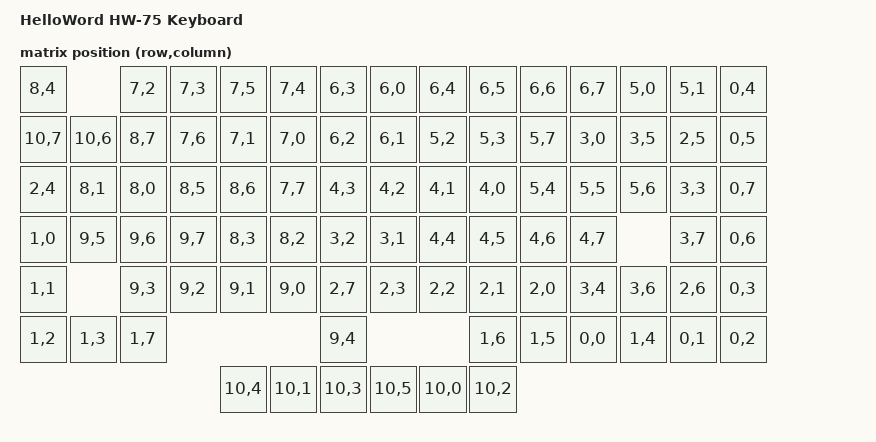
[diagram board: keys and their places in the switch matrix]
/*
 * Copyright (c) 2022-2023 XiNGRZ
 * SPDX-License-Identifier: MIT
 */

/dts-v1/;
#include <st/f1/stm32f103Xb.dtsi>
#include <st/f1/stm32f103c(8-b)tx-pinctrl.dtsi>
#include <dt-bindings/led/led.h>
#include <dt-bindings/zmk/matrix_transform.h>

/ {
	model = "HelloWord HW-75 Keyboard";
	compatible = "st,stm32f103";

	chosen {
		zephyr,code-partition = &code_partition;
		zephyr,sram = &sram0;
		zephyr,flash = &flash0;
		zmk,kscan = &kscan;
		zmk,matrix_transform = &default_transform;
		zmk,underglow = &led_strip;
	};

	aliases {
		uart-comm = &slip;
	};

	default_transform: keymap_transform {
		compatible = "zmk,matrix-transform";
		rows = <11>;
		columns = <8>;
		map = <
			RC(8, 4)          RC(7, 2) RC(7, 3) RC(7, 5) RC(7, 4) RC(6, 3) RC(6, 0) RC(6, 4) RC(6, 5) RC(6, 6) RC(6, 7) RC(5, 0) RC(5, 1) RC(0, 4)
			RC(10,7) RC(10,6) RC(8, 7) RC(7, 6) RC(7, 1) RC(7, 0) RC(6, 2) RC(6, 1) RC(5, 2) RC(5, 3) RC(5, 7) RC(3, 0) RC(3, 5) RC(2, 5) RC(0, 5)
			RC(2, 4) RC(8, 1) RC(8, 0) RC(8, 5) RC(8, 6) RC(7, 7) RC(4, 3) RC(4, 2) RC(4, 1) RC(4, 0) RC(5, 4) RC(5, 5) RC(5, 6) RC(3, 3) RC(0, 7)
			RC(1, 0) RC(9, 5) RC(9, 6) RC(9, 7) RC(8, 3) RC(8, 2) RC(3, 2) RC(3, 1) RC(4, 4) RC(4, 5) RC(4, 6) RC(4, 7)          RC(3, 7) RC(0, 6)
			RC(1, 1)          RC(9, 3) RC(9, 2) RC(9, 1) RC(9, 0) RC(2, 7) RC(2, 3) RC(2, 2) RC(2, 1) RC(2, 0) RC(3, 4) RC(3, 6) RC(2, 6) RC(0, 3)
			RC(1, 2) RC(1, 3) RC(1, 7)                            RC(9, 4)                   RC(1, 6) RC(1, 5) RC(0, 0) RC(1, 4) RC(0, 1) RC(0, 2)
			                                    RC(10,4) RC(10,1) RC(10,3) RC(10,5) RC(10,0) RC(10,2)
		>;
	};

	led_strip: led-strip-remap {
		compatible = "zmk,led-strip-remap";

		chain-length = <101>;
		led-strip = <&ws2812>;
		map = <
			/* hub */
			 99  98  97  96  95  94  93  92  91  90  89  88  87  86  85 100
			/* keys */
			 13      12  11  10   9   8   7   6   5   4   3   2   1   0
			 14  15  16  17  18  19  20  21  22  23  24  25  26  27  28
			 43  42  41  40  39  38  37  36  35  34  33  32  31  30  29
			 44  45  46  47  48  49  50  51  52  53  54  55      56  57
			 71      70  69  68  67  66  65  64  63  62  61  60  59  58
			 72  73  74              75          76  77  78  79  80  81
			/* status (top/mid/bottom) */
			 84  83  82
		>;

		status {
			label = "STATUS";
			led-indexes = <84 83 82>;
		};
	};

	slip: slip {
		compatible = "zmk,uart-slip";
		uart = <&usart1>;
	};
};

&clk_hse {
	clock-frequency = <DT_FREQ_M(8)>;
	status = "okay";
};

&pll {
	mul = <6>;
	clocks = <&clk_hse>;
	status = "okay";
};

&rcc {
	clocks = <&pll>;
	clock-frequency = <DT_FREQ_M(48)>;
	ahb-prescaler = <1>;
	apb1-prescaler = <2>;
	apb2-prescaler = <1>;
};

&pinctrl {
	swj-cfg = "jtag-disable";
};

&usb {
	pinctrl-0 = <&usb_dm_pa11 &usb_dp_pa12>;
	pinctrl-names = "default";
	status = "okay";
};

&usart1 {
	current-speed = <115200>;
	pinctrl-0 = <&usart1_tx_pa9>;
	pinctrl-names = "default";
	status = "okay";
};

&spi1 {
	pinctrl-0 = <&spi1_sck_master_pa5 &spi1_miso_master_pa6>;
	pinctrl-names = "default";
	status = "okay";

	cs-gpios = <&gpiob 3 GPIO_ACTIVE_LOW>;

	kscan: kscan-gpio-74hc165@0 {
		compatible = "zmk,kscan-gpio-74hc165";
		reg = <0>;
		spi-max-frequency = <1000000>;
		chain-length = <11>;
		scan-masks = [FF FF FF FF FF FF FF FF FF FF FF];
		parallel-load-gpios = <&gpiob 4 GPIO_ACTIVE_LOW>;
	};
};

&spi2 {
	pinctrl-0 = <&spi2_mosi_master_pb15>;
	pinctrl-names = "default";
	status = "okay";

	ws2812: ws2812@0 {
		compatible = "worldsemi,ws2812-spi";

		reg = <0>;
		spi-max-frequency = <4000000>;

		chain-length = <101>;
		spi-one-frame = <0x70>;
		spi-zero-frame = <0x40>;
		color-mapping = <LED_COLOR_ID_GREEN LED_COLOR_ID_RED LED_COLOR_ID_BLUE>;
	};
};

&flash0 {
	partitions {
		compatible = "fixed-partitions";
		#address-cells = <1>;
		#size-cells = <1>;

		bootloader_partition: partition@0 {
			label = "bootloader";
			reg = <0x00000000 DT_SIZE_K(16)>;
		};

		code_partition: partition@4000 {
			label = "code_partition";
			reg = <0x00004000 DT_SIZE_K(104)>;
		};

		storage_partition: partition@1e000 {
			label = "storage";
			reg = <0x0001e000 DT_SIZE_K(8)>;
		};
	};
};
